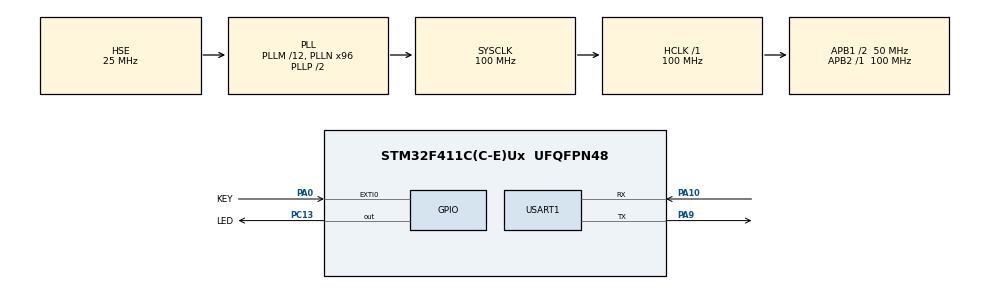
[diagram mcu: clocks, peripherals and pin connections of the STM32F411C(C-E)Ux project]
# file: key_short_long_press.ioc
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FREERTOS.Tasks01=defaultTask,24,128,StartDefaultTask,Default,NULL,Dynamic,NULL,NULL
Mcu.Family=STM32F4
Mcu.Name=STM32F411C(C-E)Ux
Mcu.Package=UFQFPN48
NVIC.EXTI0_IRQn=true\:5\:0\:false\:false\:true\:true\:true\:true\:true
NVIC.PriorityGroup=NVIC_PRIORITYGROUP_4
NVIC.TIM1_UP_TIM10_IRQn=true\:15\:0\:false\:false\:true\:false\:false\:true\:true
NVIC.TIM2_IRQn=true\:5\:0\:false\:false\:true\:true\:true\:true\:true
NVIC.TimeBase=TIM1_UP_TIM10_IRQn
NVIC.TimeBaseIP=TIM1
PA0-WKUP.GPIO_Label=KEY
PA0-WKUP.GPIO_ModeDefaultEXTI=GPIO_MODE_IT_FALLING
PA0-WKUP.GPIO_PuPd=GPIO_PULLUP
PA0-WKUP.Signal=GPXTI0
PA10.Mode=Asynchronous
PA10.Signal=USART1_RX
PA13.Mode=Serial_Wire
PA13.Signal=SYS_JTMS-SWDIO
PA14.Mode=Serial_Wire
PA14.Signal=SYS_JTCK-SWCLK
PA9.Mode=Asynchronous
PA9.Signal=USART1_TX
PC13-ANTI_TAMP.GPIO_Label=LED
PC13-ANTI_TAMP.PinState=GPIO_PIN_SET
PC13-ANTI_TAMP.Signal=GPIO_Output
PC14-OSC32_IN.Mode=LSE-External-Oscillator
PC14-OSC32_IN.Signal=RCC_OSC32_IN
PC15-OSC32_OUT.Mode=LSE-External-Oscillator
PC15-OSC32_OUT.Signal=RCC_OSC32_OUT
PH0\ -\ OSC_IN.Mode=HSE-External-Oscillator
PH0\ -\ OSC_IN.Signal=RCC_OSC_IN
PH1\ -\ OSC_OUT.Mode=HSE-External-Oscillator
PH1\ -\ OSC_OUT.Signal=RCC_OSC_OUT
ProjectManager.HeapSize=0x200
ProjectManager.StackSize=0x400
ProjectManager.TargetToolchain=MDK-ARM V5.32
RCC.48MHZClocksFreq_Value=50000000
RCC.AHBFreq_Value=100000000
RCC.APB1CLKDivider=RCC_HCLK_DIV2
RCC.APB1Freq_Value=50000000
RCC.APB1TimFreq_Value=100000000
RCC.APB2Freq_Value=100000000
RCC.APB2TimFreq_Value=100000000
RCC.CortexFreq_Value=100000000
RCC.HCLKFreq_Value=100000000
RCC.HSE_VALUE=25000000
RCC.HSI_VALUE=16000000
RCC.PLLM=12
RCC.PLLN=96
RCC.PLLSourceVirtual=RCC_PLLSOURCE_HSE
RCC.SYSCLKFreq_VALUE=100000000
RCC.SYSCLKSource=RCC_SYSCLKSOURCE_PLLCLK
RCC.VCOOutputFreq_Value=200000000
TIM2.Period=1000-1
TIM2.Prescaler=10000-1
USART1.VirtualMode=VM_ASYNC
VP_FREERTOS_VS_CMSIS_V2.Mode=CMSIS_V2
VP_SYS_VS_tim1.Mode=TIM1
VP_TIM2_VS_ClockSourceINT.Mode=Internal
board=custom

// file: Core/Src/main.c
/* USER CODE BEGIN Header */
/**
  ******************************************************************************
  * @file           : main.c
  * @brief          : Main program body
  ******************************************************************************
  * @attention
  *
  * Copyright (c) 2026 STMicroelectronics.
  * All rights reserved.
  *
  * This software is licensed under terms that can be found in the LICENSE file
  * in the root directory of this software component.
  * If no LICENSE file comes with this software, it is provided AS-IS.
  *
  ******************************************************************************
  */
/* USER CODE END Header */
#include "main.h"
#include "cmsis_os.h"
#include "tim.h"
#include "usart.h"
#include "gpio.h"

/* USER CODE BEGIN Includes */
#include <stdio.h>
#include "bsp_led.h"
#include "elog.h"
#include "SEGGER_RTT.h"
/* USER CODE END Includes */

void SystemClock_Config(void);
void MX_FREERTOS_Init(void);

int main(void)
{

  /* MCU Configuration--------------------------------------------------------*/

  /* Reset of all peripherals, Initializes the Flash interface and the Systick. */
  HAL_Init();

  /* Configure the system clock */
  SystemClock_Config();

  /* Initialize all configured peripherals */
  MX_GPIO_Init();
  MX_USART1_UART_Init();
  MX_TIM2_Init();
  /* USER CODE BEGIN 2 */
    HAL_TIM_Base_Start_IT(&htim2);  /* 启动TIM2定时器中断 100ms执行一次*/

	SEGGER_RTT_WriteString(0, "RTT: Helloworld\n");

	elog_init();
	elog_start();
	log_i("[%lu] + hello world", HAL_GetTick());

	log_i("asd");
	log_w("asd");
	log_e("asd");
	log_d("asd");
	log_v("asd");

  /* USER CODE END 2 */

  /* Init scheduler */
  osKernelInitialize();  /* Call init function for freertos objects (in cmsis_os2.c) */
  MX_FREERTOS_Init();

  /* Start scheduler */
  osKernelStart();

  /* We should never get here as control is now taken by the scheduler */

  /* Infinite loop */
  while (1)
  {

  }
}

void SystemClock_Config(void)
{
  RCC_OscInitTypeDef RCC_OscInitStruct = {0};
  RCC_ClkInitTypeDef RCC_ClkInitStruct = {0};

  /** Configure the main internal regulator output voltage
  */
  __HAL_RCC_PWR_CLK_ENABLE();
  __HAL_PWR_VOLTAGESCALING_CONFIG(PWR_REGULATOR_VOLTAGE_SCALE1);

  /** Initializes the RCC Oscillators according to the specified parameters
  * in the RCC_OscInitTypeDef structure.
  */
  RCC_OscInitStruct.OscillatorType = RCC_OSCILLATORTYPE_HSE;
  RCC_OscInitStruct.HSEState = RCC_HSE_ON;
  RCC_OscInitStruct.PLL.PLLState = RCC_PLL_ON;
  RCC_OscInitStruct.PLL.PLLSource = RCC_PLLSOURCE_HSE;
  RCC_OscInitStruct.PLL.PLLM = 12;
  RCC_OscInitStruct.PLL.PLLN = 96;
  RCC_OscInitStruct.PLL.PLLP = RCC_PLLP_DIV2;
  RCC_OscInitStruct.PLL.PLLQ = 4;
  if (HAL_RCC_OscConfig(&RCC_OscInitStruct) != HAL_OK)
  {
    Error_Handler();
  }

  /** Initializes the CPU, AHB and APB buses clocks
  */
  RCC_ClkInitStruct.ClockType = RCC_CLOCKTYPE_HCLK|RCC_CLOCKTYPE_SYSCLK
                              |RCC_CLOCKTYPE_PCLK1|RCC_CLOCKTYPE_PCLK2;
  RCC_ClkInitStruct.SYSCLKSource = RCC_SYSCLKSOURCE_PLLCLK;
  RCC_ClkInitStruct.AHBCLKDivider = RCC_SYSCLK_DIV1;
  RCC_ClkInitStruct.APB1CLKDivider = RCC_HCLK_DIV2;
  RCC_ClkInitStruct.APB2CLKDivider = RCC_HCLK_DIV1;

  if (HAL_RCC_ClockConfig(&RCC_ClkInitStruct, FLASH_LATENCY_3) != HAL_OK)
  {
    Error_Handler();
  }
}

/* USER CODE BEGIN 4 */

//-------------------------------------------------------------
// 串口重定向代码
#ifdef __GNUC__
    #define PUTCHAR_PROTOTYPE int _io_putchar(int ch)
#else
    #define PUTCHAR_PROTOTYPE int fputc(int ch, FILE *f)
#endif /* __GNUC__ */

PUTCHAR_PROTOTYPE
{
    HAL_UART_Transmit(&huart1, (uint8_t *)&ch, 1, 0xFFFF);
    return ch;
}
//-------------------------------------------------------------

/* USER CODE END 4 */

void HAL_TIM_PeriodElapsedCallback(TIM_HandleTypeDef *htim)
{
  if (htim->Instance == TIM1)
  {
    HAL_IncTick();
  }
  /* USER CODE BEGIN Callback 1 */
	if (htim->Instance == TIM2)
	{
		tim_led_callback();
	}
  /* USER CODE END Callback 1 */
}

void Error_Handler(void)
{
  __disable_irq();
  while (1)
  {
  }
}

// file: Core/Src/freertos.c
/* USER CODE BEGIN Header */
/**
  ******************************************************************************
  * File Name          : freertos.c
  * Description        : Code for freertos applications
  ******************************************************************************
  * @attention
  *
  * Copyright (c) 2026 STMicroelectronics.
  * All rights reserved.
  *
  * This software is licensed under terms that can be found in the LICENSE file
  * in the root directory of this software component.
  * If no LICENSE file comes with this software, it is provided AS-IS.
  *
  ******************************************************************************
  */
/* USER CODE END Header */

#include "FreeRTOS.h"
#include "task.h"
#include "main.h"
#include "cmsis_os.h"

/* USER CODE BEGIN Includes */
#include <stdio.h>
#include "bsp_key.h"
#include "bsp_led.h"
#include "queue.h"
#include "my_debug.h"
/* USER CODE END Includes */

/* USER CODE BEGIN PD */
#define key_wait_time 1000	// 按键判断为长按时间 (单位：毫秒)
/* USER CODE END PD */

/* USER CODE BEGIN Variables */
/* FreeRTOS key 任务 */
osThreadId_t key_task_handle; // key 任务句柄
const osThreadAttr_t key_task_attributes = {
	.name = "key_task",
	.stack_size = 128 * 2,
	.priority = (osPriority_t) osPriorityHigh,
};

/* FreeRTOS led 任务 */
osThreadId_t led_task_handle; // led 任务句柄
const osThreadAttr_t led_task_attributes = {
	.name = "led_task",
	.stack_size = 128 * 2,
	.priority = (osPriority_t) osPriorityRealtime,
};

/* 按键事件队列 */
QueueHandle_t  key_event_queue 	= NULL;
/* 按键中断队列 */
QueueHandle_t  key_irq_queue 	= NULL;

/* USER CODE END Variables */
/* Definitions for defaultTask */
osThreadId_t defaultTaskHandle;
const osThreadAttr_t defaultTask_attributes = {
  .name = "defaultTask",
  .stack_size = 128 * 4,
  .priority = (osPriority_t) osPriorityNormal,
};

/* USER CODE BEGIN FunctionPrototypes */
void key_task(void *argument);
void led_task(void *argument);
/* USER CODE END FunctionPrototypes */

void StartDefaultTask(void *argument);

void MX_FREERTOS_Init(void); /* (MISRA C 2004 rule 8.1) */

void MX_FREERTOS_Init(void) {

  /* USER CODE BEGIN RTOS_QUEUES */
  /* add queues, ... */
  key_event_queue = xQueueCreate(5, sizeof(key_event_t));
  key_irq_queue   = xQueueCreate(5, sizeof(key_irq_edge_t *));
  /* USER CODE END RTOS_QUEUES */

  /* Create the thread(s) */
  /* creation of defaultTask */
  defaultTaskHandle = osThreadNew(StartDefaultTask, NULL, &defaultTask_attributes);

  /* USER CODE BEGIN RTOS_THREADS */
  /* add threads, ... */
  key_task_handle = osThreadNew(key_task, NULL, &key_task_attributes);
  led_task_handle = osThreadNew(led_task, NULL, &led_task_attributes);

  /* USER CODE END RTOS_THREADS */

}

void StartDefaultTask(void *argument)
{
  for(;;)
  {
    osDelay(1);
  }
}

/* USER CODE BEGIN Application */

/**
 * @brief  FreeRTOS任务--按键处理
 * @note   	- 判断长按还是短按
 *  		- 计算下降沿和上升沿的差值判断，进行按键处理
 */
void key_task(void *argument)
{
	key_event_t 	key_event 		= KEY_EVENT_NONE; 	// 按键触发事件
	key_irq_edge_t 	irq_event; 							// 触发边沿结构体
	key_irq_edge_t 	*p_irq_event 	= NULL;				// 触发边沿接收指针

	uint32_t falling_tick = 0;	// 按键按下时的时间  t1
	uint32_t diff_tick    = 0;  // 时间差值			t2-t1

	uint8_t edge_state 	  = 0; 	// 按键按下状态 （0-未记录、1-按下、等待松开）

	for (;;)
	{
		if (pdPASS == xQueueReceive(key_irq_queue, &p_irq_event, portMAX_DELAY))
		{
			irq_event = *p_irq_event;
			if (KEY_EDGE_RISING 		== irq_event.edge_now)	// 按键松开
			{
				if (1 == edge_state)
				{
					diff_tick 	= irq_event.edge_tick - falling_tick;
					edge_state 	= 0;

					// a. 小于10ms判断为按键抖动
					if (diff_tick < 10)
					{
						continue;
					}
					// b. 10ms~1000ms为短按
					else if ((diff_tick >= 10) && (diff_tick < key_wait_time))
					{
						key_event = KEY_SHORT_PRESS;
					}
					// c. 大于1000ms为长按
					else if (diff_tick >= key_wait_time)
					{
						key_event = KEY_LONG_PRESS;
					}

					// 发送队列
					if (pdPASS == xQueueSend(key_event_queue, &key_event, 0))
					{
						printf_debug("send queue\r\n");
					}
				}
			}
			else if (KEY_EDGE_FALLING 	== irq_event.edge_now)	// 按键按下
			{
				falling_tick 	= irq_event.edge_tick;
				edge_state 		= 1;
			}
		}

		osDelay(10);
	}
}

/**
 * @brief  FreeRTOS任务--LED控制
 * @note   - 处理按键短按和长按事件
 */
void led_task(void *argument)
{
	key_event_t key_event_led = KEY_EVENT_NONE;
	for (;;)
	{
		xQueueReceive(key_event_queue, &key_event_led, portMAX_DELAY);
		printf_debug("led_task rx data\r\n");
		if (KEY_SHORT_PRESS == key_event_led)		// 按键短按
		{
			led_flicker(1);
		}
		else if (KEY_LONG_PRESS == key_event_led)	// 按键长按
		{
			led_flicker(10);
		}

		osDelay(10);
	}
}

/* USER CODE END Application */
